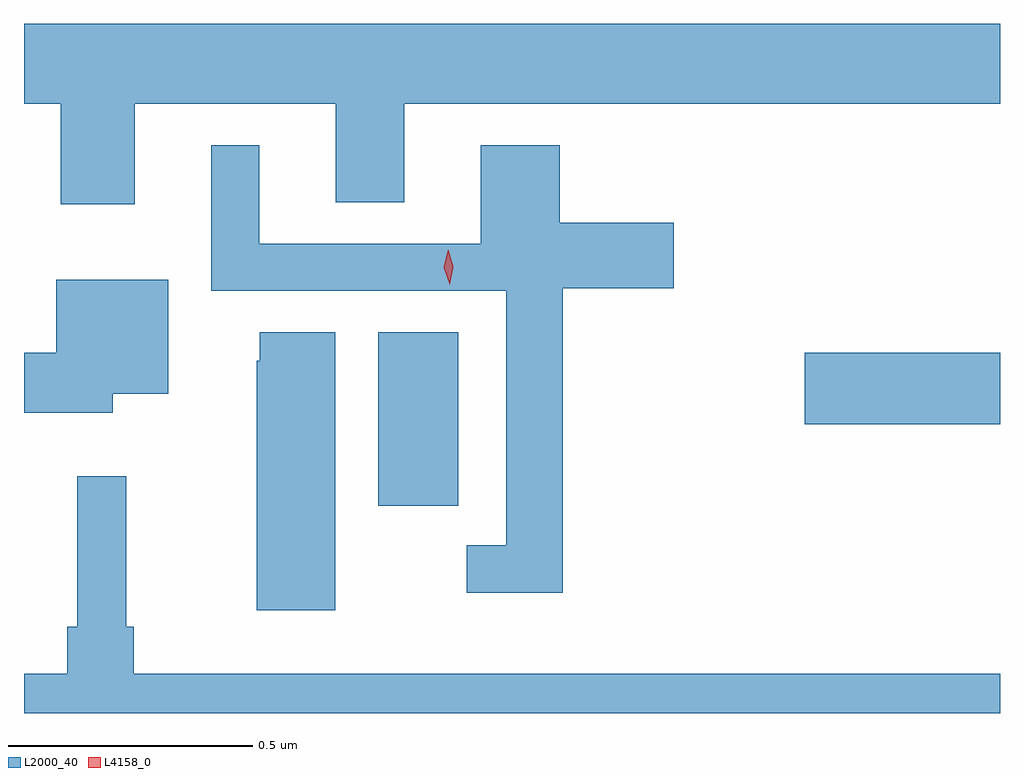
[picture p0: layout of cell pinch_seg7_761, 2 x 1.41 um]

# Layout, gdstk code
import gdstk
lib = gdstk.Library(unit=1e-6, precision=1e-09)
def R(c, l, rs):  # rectangles x0, y0, x1, y1
    for r in rs: c.add(gdstk.rectangle(r[:2], r[2:], *l))
def P(c, l, *ps):  # polygons
    for p in ps: c.add(gdstk.Polygon(p, *l))
L2000_40 = (2000, 40)
L4158_0 = (4158, 0)

pinch_seg7_761 = lib.new_cell('pinch_seg7_761')
R(pinch_seg7_761, L2000_40, [(339.176,1029.096,339.34,1029.452), (340.05,1029.263,340.45,1029.41)])
P(pinch_seg7_761, L2000_40, [(338.677,1029.92),(339.089,1029.92),(339.089,1029.718),(339.229,1029.718),(339.229,1029.92),(340.45,1029.92),(340.45,1030.084),(338.45,1030.084),(338.45,1029.92),(338.525,1029.92),(338.525,1029.714),(338.677,1029.714)],
  [(339.554,1029.542),(339.781,1029.542),(339.781,1029.676),(339.548,1029.676),(339.548,1029.835),(339.386,1029.835),(339.386,1029.633),(338.932,1029.633),(338.932,1029.835),(338.834,1029.835),(338.834,1029.537),(339.438,1029.537),(339.438,1029.015),(339.357,1029.015),(339.357,1028.918),(339.554,1028.918)],
  [(338.632,1029.326),(338.746,1029.326),(338.746,1029.559),(338.516,1029.559),(338.516,1029.41),(338.45,1029.41),(338.45,1029.287),(338.632,1029.287)],
  [(339.088,1029.452),(338.933,1029.452),(338.933,1029.393),(338.927,1029.393),(338.927,1028.882),(339.088,1028.882)],
  [(340.45,1028.752),(338.675,1028.752),(338.675,1028.848),(338.66,1028.848),(338.66,1029.157),(338.559,1029.157),(338.559,1028.848),(338.539,1028.848),(338.539,1028.752),(338.45,1028.752),(338.45,1028.671),(340.45,1028.671)])
P(pinch_seg7_761, L4158_0, [(339.322,1029.549),(339.322,1029.55),(339.31,1029.585),(339.319,1029.621),(339.319,1029.621),(339.319,1029.621),(339.33,1029.586),(339.322,1029.55)])

lib.write_gds('pinch_seg7_761.gds')
